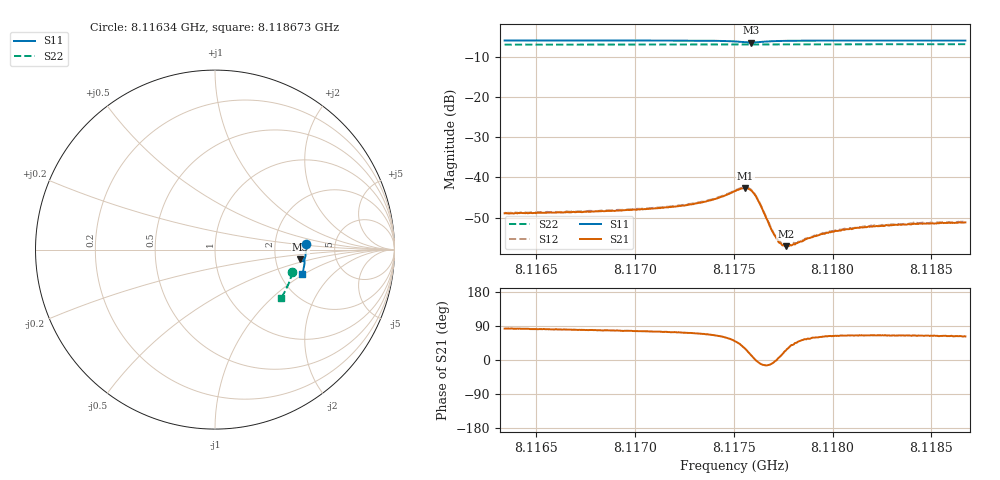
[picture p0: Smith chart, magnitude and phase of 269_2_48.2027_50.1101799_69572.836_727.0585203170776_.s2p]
#  HZ  S  RI  R  50.00
! Rohde & Schwarz Vector Network Analyzer
! Rohde-Schwarz,ZNB20-2Port,1311601062101988,3.16
! Created: UTC 3/20/2024, 11:48:05 AM
! freq[Hz]  re:S11  im:S11  re:S21  im:S21  re:S12  im:S12  re:S22  im:S22
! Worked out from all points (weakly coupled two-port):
!   401 points, 8.11634 GHz to 8.118673 GHz, reference 50 ohm
!   highest |S21| = -42.64 dB at 8.117559 GHz (marker M1); lowest = -57.1 dB at 8.117763 GHz (marker M2)
!   lowest |S11| = -6.4 dB at 8.117588 GHz (marker M3), VSWR 2.83, Z = 138 - j19.5 ohm
!   |S11| at or under -10 dB: nowhere
!   |S22| runs from -7.0 to -6.8 dB; largest |S21 - S12| = 0.00019
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8.1163399e9  0.5058 0.0329  0.000449 0.00354  0.000504 0.00359  0.4316 -0.1247
8.1167307e9  0.5063 0.00324  0.000667 0.00363  0.000746 0.0037  0.4244 -0.1509
8.1171214e9  0.5045 -0.0275  0.00108 0.00401  0.00115 0.00406  0.4154 -0.1765
8.1172497e9  0.5031 -0.0384  0.00137 0.00424  0.00144 0.00434  0.4122 -0.185
8.117343e9  0.5012 -0.0469  0.00177 0.00457  0.00188 0.00461  0.4097 -0.191
8.1174014e9  0.499 -0.0528  0.00223 0.00488  0.00229 0.00492  0.4079 -0.1949
8.1175063e9  0.4889 -0.0634  0.00436 0.00515  0.00451 0.00523  0.4046 -0.2017
8.1175588e9  0.4779 -0.0617  0.00644 0.00362  0.00658 0.0036  0.4026 -0.2045
8.117588e9  0.4748 -0.0544  0.00672 0.00148  0.00688 0.00147  0.4018 -0.206
8.1176055e9  0.4767 -0.0496  0.00615 0.000253  0.00625 0.000233  0.4014 -0.207
8.117623e9  0.4802 -0.0465  0.00515 -0.000531  0.00529 -0.000581  0.401 -0.2077
8.117693e9  0.4937 -0.0503  0.00216 -0.000361  0.00224 -0.000408  0.3997 -0.2123
8.1177104e9  0.4954 -0.0527  0.00185 -7.31e-05  0.00184 -0.000117  0.3992 -0.2134
8.1177396e9  0.497 -0.0564  0.00146 0.000301  0.00149 0.000306  0.3984 -0.2154
8.1177629e9  0.4977 -0.0592  0.00126 0.000582  0.00129 0.000599  0.3977 -0.2169
8.1178038e9  0.4987 -0.0639  0.00111 0.000974  0.00116 0.00101  0.3965 -0.2196
8.1178971e9  0.4988 -0.0733  0.000929 0.00154  0.000961 0.00155  0.3935 -0.2254
8.1179845e9  0.4979 -0.081  0.000935 0.00187  0.000988 0.0019  0.3907 -0.231
8.1180604e9  0.4971 -0.0873  0.000961 0.00201  0.00102 0.00207  0.388 -0.2356
8.1181595e9  0.4958 -0.0951  0.00102 0.00216  0.00102 0.00222  0.3846 -0.2418
8.1182878e9  0.4938 -0.1051  0.00108 0.00227  0.0011 0.00229  0.3802 -0.2494
8.1186727e9  0.4865 -0.1335  0.00128 0.00244  0.0013 0.00245  0.3656 -0.2724
